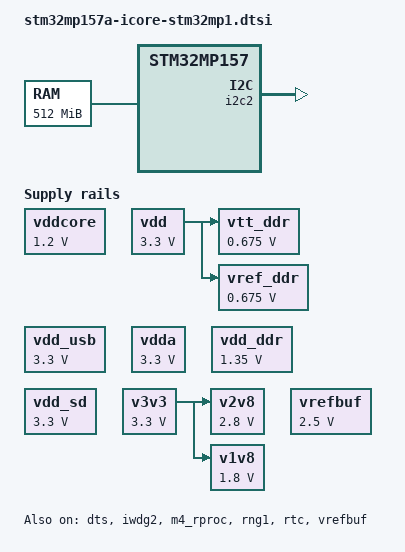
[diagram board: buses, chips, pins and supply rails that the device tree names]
// SPDX-License-Identifier: (GPL-2.0+ OR BSD-3-Clause)
/*
 * Copyright (c) STMicroelectronics 2019 - All Rights Reserved
 * Copyright (c) 2020 Engicam srl
 * Copyright (c) 2020 Amarula Solutions(India)
 */

/ {
	compatible = "engicam,icore-stm32mp1", "st,stm32mp157";

	memory@c0000000 {
		device_type = "memory";
		reg = <0xc0000000 0x20000000>;
	};

	reserved-memory {
		#address-cells = <1>;
		#size-cells = <1>;
		ranges;

		mcuram2: mcuram2@10000000 {
			compatible = "shared-dma-pool";
			reg = <0x10000000 0x40000>;
			no-map;
		};

		vdev0vring0: vdev0vring0@10040000 {
			compatible = "shared-dma-pool";
			reg = <0x10040000 0x1000>;
			no-map;
		};

		vdev0vring1: vdev0vring1@10041000 {
			compatible = "shared-dma-pool";
			reg = <0x10041000 0x1000>;
			no-map;
		};

		vdev0buffer: vdev0buffer@10042000 {
			compatible = "shared-dma-pool";
			reg = <0x10042000 0x4000>;
			no-map;
		};

		mcuram: mcuram@30000000 {
			compatible = "shared-dma-pool";
			reg = <0x30000000 0x40000>;
			no-map;
		};

		retram: retram@38000000 {
			compatible = "shared-dma-pool";
			reg = <0x38000000 0x10000>;
			no-map;
		};
	};

	vddcore: regulator-vddcore {
		compatible = "regulator-fixed";
		regulator-name = "vddcore";
		regulator-min-microvolt = <1200000>;
		regulator-max-microvolt = <1200000>;
		regulator-always-on;
		bootph-all;
	};

	vdd: regulator-vdd {
		compatible = "regulator-fixed";
		regulator-name = "vdd";
		regulator-min-microvolt = <3300000>;
		regulator-max-microvolt = <3300000>;
		regulator-always-on;
		bootph-all;
	};

	vdd_usb: regulator-vdd-usb {
		compatible = "regulator-fixed";
		regulator-name = "vdd_usb";
		regulator-min-microvolt = <3300000>;
		regulator-max-microvolt = <3300000>;
		regulator-always-on;
		bootph-all;
	};

	vdda: regulator-vdda {
		compatible = "regulator-fixed";
		regulator-name = "vdda";
		regulator-min-microvolt = <3300000>;
		regulator-max-microvolt = <3300000>;
		regulator-always-on;
		bootph-all;
	};

	vdd_ddr: regulator-vdd-ddr {
		compatible = "regulator-fixed";
		regulator-name = "vdd_ddr";
		regulator-min-microvolt = <1350000>;
		regulator-max-microvolt = <1350000>;
		regulator-always-on;
		bootph-all;
	};

	vtt_ddr: regulator-vtt-ddr {
		compatible = "regulator-fixed";
		regulator-name = "vtt_ddr";
		regulator-min-microvolt = <675000>;
		regulator-max-microvolt = <675000>;
		regulator-always-on;
		vin-supply = <&vdd>;
		bootph-all;
	};

	vref_ddr: regulator-vref-ddr {
		compatible = "regulator-fixed";
		regulator-name = "vref_ddr";
		regulator-min-microvolt = <675000>;
		regulator-max-microvolt = <675000>;
		regulator-always-on;
		vin-supply = <&vdd>;
		bootph-all;
	};

	vdd_sd: regulator-vdd-sd {
		compatible = "regulator-fixed";
		regulator-name = "vdd_sd";
		regulator-min-microvolt = <3300000>;
		regulator-max-microvolt = <3300000>;
		regulator-always-on;
		bootph-all;
	};

	v3v3: regulator-v3v3 {
		compatible = "regulator-fixed";
		regulator-name = "v3v3";
		regulator-min-microvolt = <3300000>;
		regulator-max-microvolt = <3300000>;
		regulator-always-on;
		bootph-all;
	};

	v2v8: regulator-v2v8 {
		compatible = "regulator-fixed";
		regulator-name = "v2v8";
		regulator-min-microvolt = <2800000>;
		regulator-max-microvolt = <2800000>;
		regulator-always-on;
		vin-supply = <&v3v3>;
		bootph-all;
	};

	v1v8: regulator-v1v8 {
		compatible = "regulator-fixed";
		regulator-name = "v1v8";
		regulator-min-microvolt = <1800000>;
		regulator-max-microvolt = <1800000>;
		regulator-always-on;
		vin-supply = <&v3v3>;
		bootph-all;
	};
};

&bsec {
	bootph-all;
};

&clk_hse {
	bootph-all;
};

&clk_hsi {
	bootph-all;
};

&clk_lse {
	bootph-all;
};

&clk_lsi {
	bootph-all;
};

&clk_csi {
	bootph-all;
};

&dts {
	status = "okay";
};

&gpioa {
	bootph-all;
};

&gpiob {
	bootph-all;
};

&gpioc {
	bootph-all;
};

&gpiod {
	bootph-all;
};

&gpioe {
	bootph-all;
};

&gpiof {
	bootph-all;
};

&gpiog {
	bootph-all;
};

&gpioh {
	bootph-all;
};

&gpioi {
	bootph-all;
};

&gpioj {
	bootph-all;
};

&gpiok {
	bootph-all;
};

&gpioz {
	bootph-all;
};

&i2c2 {
	i2c-scl-falling-time-ns = <20>;
	i2c-scl-rising-time-ns = <185>;
	pinctrl-names = "default", "sleep";
	pinctrl-0 = <&i2c2_pins_a>;
	pinctrl-1 = <&i2c2_sleep_pins_a>;
	status = "okay";
};

&ipcc {
	status = "okay";
};

&iwdg2 {
	timeout-sec = <32>;
	bootph-all;
	status = "okay";
};

&m4_rproc {
	memory-region = <&retram>, <&mcuram>, <&mcuram2>, <&vdev0vring0>,
			<&vdev0vring1>, <&vdev0buffer>;
	mboxes = <&ipcc 0>, <&ipcc 1>, <&ipcc 2>;
	mbox-names = "vq0", "vq1", "shutdown";
	interrupt-parent = <&exti>;
	interrupts = <68 1>;
	status = "okay";
};

&pinctrl {
	bootph-all;
};

&pinctrl_z {
	bootph-all;
};

&psci {
	bootph-some-ram;
};

&rcc {
	bootph-all;
};

&rng1 {
	status = "okay";
};

&rtc {
	status = "okay";
};

&vrefbuf {
	regulator-min-microvolt = <2500000>;
	regulator-max-microvolt = <2500000>;
	vdda-supply = <&vdd>;
	status = "okay";
};
